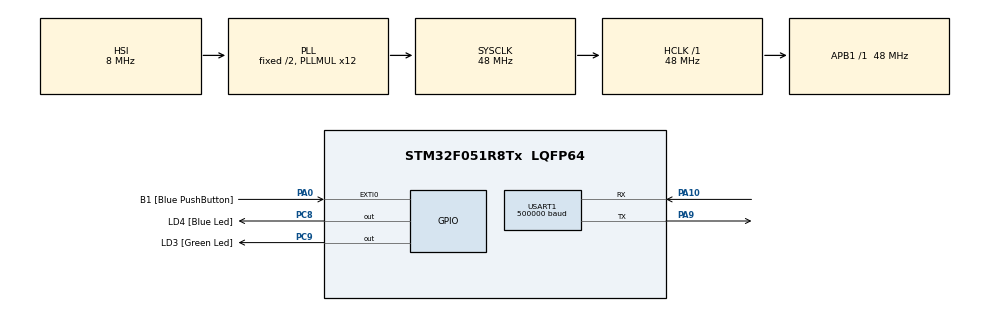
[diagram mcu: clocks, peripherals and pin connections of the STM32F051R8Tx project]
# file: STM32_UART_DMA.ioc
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Dma.Request0=USART1_TX
Dma.USART1_TX.0.Direction=DMA_MEMORY_TO_PERIPH
Dma.USART1_TX.0.Instance=DMA1_Channel2
Dma.USART1_TX.0.MemDataAlignment=DMA_MDATAALIGN_HALFWORD
Dma.USART1_TX.0.MemInc=DMA_MINC_ENABLE
Dma.USART1_TX.0.Mode=DMA_CIRCULAR
Dma.USART1_TX.0.PeriphDataAlignment=DMA_PDATAALIGN_HALFWORD
Dma.USART1_TX.0.PeriphInc=DMA_PINC_DISABLE
Dma.USART1_TX.0.Priority=DMA_PRIORITY_HIGH
Mcu.Family=STM32F0
Mcu.Name=STM32F051R8Tx
Mcu.Package=LQFP64
NVIC.DMA1_Channel2_3_IRQn=true\:0\:0\:false\:false\:true\:false\:true\:true
PA0.GPIO_Label=B1 [Blue PushButton]
PA0.GPIO_ModeDefaultEXTI=GPIO_MODE_EVT_RISING
PA0.Signal=GPXTI0
PA10.Mode=Asynchronous
PA10.Signal=USART1_RX
PA13.GPIO_Label=SWDIO
PA13.Mode=Serial_Wire
PA13.Signal=SYS_SWDIO
PA14.GPIO_Label=SWCLK
PA14.Mode=Serial_Wire
PA14.Signal=SYS_SWCLK
PA9.Mode=Asynchronous
PA9.Signal=USART1_TX
PC8.GPIO_Label=LD4 [Blue Led]
PC8.Signal=GPIO_Output
PC9.GPIO_Label=LD3 [Green Led]
PC9.Signal=GPIO_Output
ProjectManager.HeapSize=0x200
ProjectManager.StackSize=0x400
ProjectManager.TargetToolchain=STM32CubeIDE
RCC.AHBFreq_Value=48000000
RCC.APB1Freq_Value=48000000
RCC.APB1TimFreq_Value=48000000
RCC.HCLKFreq_Value=48000000
RCC.PLLMUL=RCC_PLL_MUL12
RCC.SYSCLKFreq_VALUE=48000000
RCC.SYSCLKSource=RCC_SYSCLKSOURCE_PLLCLK
USART1.BaudRate=500000
USART1.VirtualMode-Asynchronous=VM_ASYNC
board=STM32F0DISCOVERY

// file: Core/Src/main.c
/* USER CODE BEGIN Header */
/**
  ******************************************************************************
  * @file           : main.c
  * @brief          : Main program body
  ******************************************************************************
  * @attention
  *
  * Copyright (c) 2024 STMicroelectronics.
  * All rights reserved.
  *
  * This software is licensed under terms that can be found in the LICENSE file
  * in the root directory of this software component.
  * If no LICENSE file comes with this software, it is provided AS-IS.
  *
  ******************************************************************************
  */
/* USER CODE END Header */
#include "main.h"

/* USER CODE BEGIN Includes */
#include "string.h"
/* USER CODE END Includes */

/* USER CODE BEGIN PD */
#define DATA_BUFFER_LEN 8
/* USER CODE END PD */

UART_HandleTypeDef huart1;
DMA_HandleTypeDef hdma_usart1_tx;

void SystemClock_Config(void);
static void MX_GPIO_Init(void);
static void MX_DMA_Init(void);
static void MX_USART1_UART_Init(void);

/* USER CODE BEGIN 0 */
uint16_t data_buffer[] = {2045, 2045, 2045, 2045, 2045, 2045, 2045, 2045};
uint8_t new_buffer[2 * DATA_BUFFER_LEN];  // Each uint16_t will be represented by 2 bytes in the new buffer
/* USER CODE END 0 */

int main(void)
{

  /* MCU Configuration--------------------------------------------------------*/

  /* Reset of all peripherals, Initializes the Flash interface and the Systick. */
  HAL_Init();

  /* Configure the system clock */
  SystemClock_Config();

  /* Initialize all configured peripherals */
  MX_GPIO_Init();
  MX_DMA_Init();
  MX_USART1_UART_Init();
  /* USER CODE BEGIN 2 */

//  char formatted_string[30];
//  sprintf(formatted_string, "%02X\r\n %02X\r\n %02X\r\n %02X\r\n %02X\r\n %02X\r\n %02X\r\n %02X\r\n",
//  	     data_buffer[0], data_buffer[1], data_buffer[2], data_buffer[3],
//  	     data_buffer[4], data_buffer[5], data_buffer[6], data_buffer[7]);
//  HAL_UART_Transmit_DMA(&huart1, (uint8_t*)formatted_string, strlen(formatted_string));
  /* USER CODE END 2 */

  /* Infinite loop */
  /* USER CODE BEGIN WHILE */
  while (1)
  {
	    for (int i = 0; i < DATA_BUFFER_LEN; i++) {
	        uint16_t value = data_buffer[i];

	        // Extract high byte and low byte
	        uint8_t high_byte = (uint8_t)(value >> 8);
	        uint8_t low_byte = (uint8_t)(value & 0xFF);

	        // Store in the new buffer
	        new_buffer[2 * i] = high_byte;
	        new_buffer[2 * i + 1] = low_byte;
	    // Transmit the formatted string using UART
	    }
	    HAL_UART_Transmit(&huart1, new_buffer, DATA_BUFFER_LEN*2, HAL_MAX_DELAY);

	  //HAL_UART_Transmit(&huart1, (uint8_t*)data_buffer, sizeof(data_buffer), HAL_MAX_DELAY);
    /* USER CODE END WHILE */

  }
}

void SystemClock_Config(void)
{
  RCC_OscInitTypeDef RCC_OscInitStruct = {0};
  RCC_ClkInitTypeDef RCC_ClkInitStruct = {0};
  RCC_PeriphCLKInitTypeDef PeriphClkInit = {0};

  /** Initializes the RCC Oscillators according to the specified parameters
  * in the RCC_OscInitTypeDef structure.
  */
  RCC_OscInitStruct.OscillatorType = RCC_OSCILLATORTYPE_HSI;
  RCC_OscInitStruct.HSIState = RCC_HSI_ON;
  RCC_OscInitStruct.HSICalibrationValue = RCC_HSICALIBRATION_DEFAULT;
  RCC_OscInitStruct.PLL.PLLState = RCC_PLL_ON;
  RCC_OscInitStruct.PLL.PLLSource = RCC_PLLSOURCE_HSI;
  RCC_OscInitStruct.PLL.PLLMUL = RCC_PLL_MUL12;
  RCC_OscInitStruct.PLL.PREDIV = RCC_PREDIV_DIV1;
  if (HAL_RCC_OscConfig(&RCC_OscInitStruct) != HAL_OK)
  {
    Error_Handler();
  }

  /** Initializes the CPU, AHB and APB buses clocks
  */
  RCC_ClkInitStruct.ClockType = RCC_CLOCKTYPE_HCLK|RCC_CLOCKTYPE_SYSCLK
                              |RCC_CLOCKTYPE_PCLK1;
  RCC_ClkInitStruct.SYSCLKSource = RCC_SYSCLKSOURCE_PLLCLK;
  RCC_ClkInitStruct.AHBCLKDivider = RCC_SYSCLK_DIV1;
  RCC_ClkInitStruct.APB1CLKDivider = RCC_HCLK_DIV1;

  if (HAL_RCC_ClockConfig(&RCC_ClkInitStruct, FLASH_LATENCY_1) != HAL_OK)
  {
    Error_Handler();
  }
  PeriphClkInit.PeriphClockSelection = RCC_PERIPHCLK_USART1;
  PeriphClkInit.Usart1ClockSelection = RCC_USART1CLKSOURCE_PCLK1;
  if (HAL_RCCEx_PeriphCLKConfig(&PeriphClkInit) != HAL_OK)
  {
    Error_Handler();
  }
}

static void MX_USART1_UART_Init(void)
{

  huart1.Instance = USART1;
  huart1.Init.BaudRate = 500000;
  huart1.Init.WordLength = UART_WORDLENGTH_8B;
  huart1.Init.StopBits = UART_STOPBITS_1;
  huart1.Init.Parity = UART_PARITY_NONE;
  huart1.Init.Mode = UART_MODE_TX_RX;
  huart1.Init.HwFlowCtl = UART_HWCONTROL_NONE;
  huart1.Init.OverSampling = UART_OVERSAMPLING_16;
  huart1.Init.OneBitSampling = UART_ONE_BIT_SAMPLE_DISABLE;
  huart1.AdvancedInit.AdvFeatureInit = UART_ADVFEATURE_NO_INIT;
  if (HAL_UART_Init(&huart1) != HAL_OK)
  {
    Error_Handler();
  }

}

static void MX_DMA_Init(void)
{

  /* DMA controller clock enable */
  __HAL_RCC_DMA1_CLK_ENABLE();

  /* DMA interrupt init */
  /* DMA1_Channel2_3_IRQn interrupt configuration */
  HAL_NVIC_SetPriority(DMA1_Channel2_3_IRQn, 0, 0);
  HAL_NVIC_EnableIRQ(DMA1_Channel2_3_IRQn);

}

static void MX_GPIO_Init(void)
{
  GPIO_InitTypeDef GPIO_InitStruct = {0};

  /* GPIO Ports Clock Enable */
  __HAL_RCC_GPIOA_CLK_ENABLE();
  __HAL_RCC_GPIOC_CLK_ENABLE();

  /*Configure GPIO pin Output Level */
  HAL_GPIO_WritePin(GPIOC, LD4_Pin|LD3_Pin, GPIO_PIN_RESET);

  /*Configure GPIO pin : B1_Pin */
  GPIO_InitStruct.Pin = B1_Pin;
  GPIO_InitStruct.Mode = GPIO_MODE_EVT_RISING;
  GPIO_InitStruct.Pull = GPIO_NOPULL;
  HAL_GPIO_Init(B1_GPIO_Port, &GPIO_InitStruct);

  /*Configure GPIO pins : LD4_Pin LD3_Pin */
  GPIO_InitStruct.Pin = LD4_Pin|LD3_Pin;
  GPIO_InitStruct.Mode = GPIO_MODE_OUTPUT_PP;
  GPIO_InitStruct.Pull = GPIO_NOPULL;
  GPIO_InitStruct.Speed = GPIO_SPEED_FREQ_LOW;
  HAL_GPIO_Init(GPIOC, &GPIO_InitStruct);

}

/* USER CODE BEGIN 4 */

void HAL_UART_TxHalfCpltCallback(UART_HandleTypeDef* huart2)
{
	HAL_GPIO_TogglePin(LD3_GPIO_Port, LD3_Pin);
}

void HAL_UART_TxCpltCallback(UART_HandleTypeDef* huart2)
{
	HAL_GPIO_TogglePin(LD4_GPIO_Port, LD4_Pin);
}
/* USER CODE END 4 */

void Error_Handler(void)
{
  __disable_irq();
  while (1)
  {
  }
}
